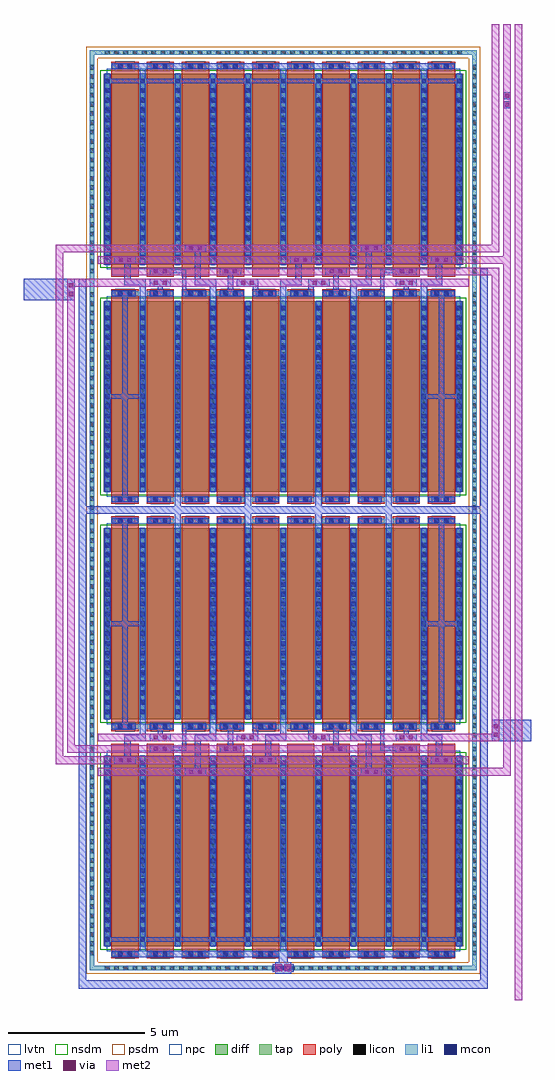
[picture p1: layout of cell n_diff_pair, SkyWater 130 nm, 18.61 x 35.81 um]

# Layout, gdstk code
import gdstk
lib = gdstk.Library(unit=1e-6, precision=1e-09)
def R(c, l, rs):  # rectangles x0, y0, x1, y1
    for r in rs: c.add(gdstk.rectangle(r[:2], r[2:], *l))
def A(c, l, x, y, w, h, nx, ny, dx, dy):  # array of equal rectangles
    R(c, l, [(x+i*dx, y+j*dy, x+i*dx+w, y+j*dy+h) for i in range(nx) for j in range(ny)])
diff = (65, 20)
tap = (65, 44)
poly = (66, 20)
licon = (66, 44)
li1 = (67, 20)
mcon = (67, 44)
met1 = (68, 20)
via = (68, 44)
met2 = (69, 20)
nsdm = (93, 44)
psdm = (94, 20)
npc = (95, 20)
lvtn = (125, 44)

n_diff_pair = lib.new_cell('n_diff_pair')
A(n_diff_pair, diff, 2.92, 4.98, 13.19, 7, 1, 4, 0, 8.34)
R(n_diff_pair, tap, [(2.41,4.11,16.62,4.28), (2.41,4.28,2.58,37.7), (16.45,4.28,16.62,37.7), (2.41,37.7,16.62,37.87)])
A(n_diff_pair, poly, 3.21, 4.54, 1, 7.88, 10, 4, 1.29, 8.34)
A(n_diff_pair, licon, 2.97, 4.11, 0.17, 0.17, 39, 2, 0.34, 33.59)
A(n_diff_pair, licon, 2.41, 4.655, 0.17, 0.17, 1, 23, 0, 0.34)
A(n_diff_pair, licon, 16.45, 4.655, 0.17, 0.17, 1, 23, 0, 0.34)
A(n_diff_pair, licon, 2.98, 5.165, 0.17, 0.17, 11, 20, 1.29, 0.34)
A(n_diff_pair, licon, 2.41, 12.655, 0.17, 0.17, 1, 24, 0, 0.34)
A(n_diff_pair, licon, 16.45, 12.655, 0.17, 0.17, 1, 24, 0, 0.34)
A(n_diff_pair, licon, 2.98, 13.505, 0.17, 0.17, 11, 20, 1.29, 0.34)
A(n_diff_pair, licon, 2.41, 20.995, 0.17, 0.17, 1, 24, 0, 0.34)
A(n_diff_pair, licon, 16.45, 20.995, 0.17, 0.17, 1, 24, 0, 0.34)
A(n_diff_pair, licon, 2.98, 21.845, 0.17, 0.17, 11, 20, 1.29, 0.34)
A(n_diff_pair, licon, 2.41, 29.675, 0.17, 0.17, 1, 23, 0, 0.34)
A(n_diff_pair, licon, 16.45, 29.675, 0.17, 0.17, 1, 23, 0, 0.34)
A(n_diff_pair, licon, 2.98, 30.185, 0.17, 0.17, 11, 20, 1.29, 0.34)
R(n_diff_pair, licon, [(3.455,4.62,3.625,4.79), (3.795,4.62,3.965,4.79), (4.745,4.62,4.915,4.79), (5.085,4.62,5.255,4.79), (6.035,4.62,6.205,4.79), (6.375,4.62,6.545,4.79), (7.325,4.62,7.495,4.79), (7.665,4.62,7.835,4.79), (8.615,4.62,8.785,4.79), (8.955,4.62,9.125,4.79), (9.905,4.62,10.075,4.79), (10.245,4.62,10.415,4.79), (11.195,4.62,11.365,4.79), (11.535,4.62,11.705,4.79), (12.485,4.62,12.655,4.79), (12.825,4.62,12.995,4.79), (13.775,4.62,13.945,4.79), (14.115,4.62,14.285,4.79), (15.065,4.62,15.235,4.79), (15.405,4.62,15.575,4.79), (3.455,12.96,3.625,13.13), (3.795,12.96,3.965,13.13), (4.745,12.96,4.915,13.13), (5.085,12.96,5.255,13.13), (6.035,12.96,6.205,13.13), (6.375,12.96,6.545,13.13), (7.325,12.96,7.495,13.13), (7.665,12.96,7.835,13.13), (8.615,12.96,8.785,13.13), (8.955,12.96,9.125,13.13), (9.905,12.96,10.075,13.13), (10.245,12.96,10.415,13.13), (11.195,12.96,11.365,13.13), (11.535,12.96,11.705,13.13), (12.485,12.96,12.655,13.13), (12.825,12.96,12.995,13.13), (13.775,12.96,13.945,13.13), (14.115,12.96,14.285,13.13), (15.065,12.96,15.235,13.13), (15.405,12.96,15.575,13.13), (3.455,20.51,3.625,20.68), (3.795,20.51,3.965,20.68), (4.745,20.51,4.915,20.68), (5.085,20.51,5.255,20.68), (6.035,20.51,6.205,20.68), (6.375,20.51,6.545,20.68), (7.325,20.51,7.495,20.68), (7.665,20.51,7.835,20.68), (8.615,20.51,8.785,20.68), (8.955,20.51,9.125,20.68), (9.905,20.51,10.075,20.68), (10.245,20.51,10.415,20.68), (11.195,20.51,11.365,20.68), (11.535,20.51,11.705,20.68), (12.485,20.51,12.655,20.68), (12.825,20.51,12.995,20.68), (13.775,20.51,13.945,20.68), (14.115,20.51,14.285,20.68), (15.065,20.51,15.235,20.68), (15.405,20.51,15.575,20.68), (3.455,21.3,3.625,21.47), (3.795,21.3,3.965,21.47), (4.745,21.3,4.915,21.47), (5.085,21.3,5.255,21.47), (6.035,21.3,6.205,21.47), (6.375,21.3,6.545,21.47), (7.325,21.3,7.495,21.47), (7.665,21.3,7.835,21.47), (8.615,21.3,8.785,21.47), (8.955,21.3,9.125,21.47), (9.905,21.3,10.075,21.47), (10.245,21.3,10.415,21.47), (11.195,21.3,11.365,21.47), (11.535,21.3,11.705,21.47), (12.485,21.3,12.655,21.47), (12.825,21.3,12.995,21.47), (13.775,21.3,13.945,21.47), (14.115,21.3,14.285,21.47), (15.065,21.3,15.235,21.47), (15.405,21.3,15.575,21.47), (3.455,28.85,3.625,29.02), (3.795,28.85,3.965,29.02), (4.745,28.85,4.915,29.02), (5.085,28.85,5.255,29.02), (6.035,28.85,6.205,29.02), (6.375,28.85,6.545,29.02), (7.325,28.85,7.495,29.02), (7.665,28.85,7.835,29.02), (8.615,28.85,8.785,29.02), (8.955,28.85,9.125,29.02), (9.905,28.85,10.075,29.02), (10.245,28.85,10.415,29.02), (11.195,28.85,11.365,29.02), (11.535,28.85,11.705,29.02), (12.485,28.85,12.655,29.02), (12.825,28.85,12.995,29.02), (13.775,28.85,13.945,29.02), (14.115,28.85,14.285,29.02), (15.065,28.85,15.235,29.02), (15.405,28.85,15.575,29.02), (3.455,37.19,3.625,37.36), (3.795,37.19,3.965,37.36), (4.745,37.19,4.915,37.36), (5.085,37.19,5.255,37.36), (6.035,37.19,6.205,37.36), (6.375,37.19,6.545,37.36), (7.325,37.19,7.495,37.36), (7.665,37.19,7.835,37.36), (8.615,37.19,8.785,37.36), (8.955,37.19,9.125,37.36), (9.905,37.19,10.075,37.36), (10.245,37.19,10.415,37.36), (11.195,37.19,11.365,37.36), (11.535,37.19,11.705,37.36), (12.485,37.19,12.655,37.36), (12.825,37.19,12.995,37.36), (13.775,37.19,13.945,37.36), (14.115,37.19,14.285,37.36), (15.065,37.19,15.235,37.36), (15.405,37.19,15.575,37.36)])
A(n_diff_pair, li1, 3.21, 4.62, 1, 0.17, 10, 2, 1.29, 8.34)
A(n_diff_pair, li1, 2.98, 4.96, 0.17, 7.04, 11, 4, 1.29, 8.34)
A(n_diff_pair, li1, 3.21, 20.51, 1, 0.17, 10, 2, 1.29, 0.79)
A(n_diff_pair, li1, 3.21, 28.85, 1, 0.17, 10, 2, 1.29, 8.34)
R(n_diff_pair, li1, [(2.41,4.11,16.62,4.28), (2.41,4.28,2.58,37.7), (16.45,4.28,16.62,37.7), (2.41,37.7,16.62,37.87)])
A(n_diff_pair, mcon, 2.98, 5.155, 0.17, 0.17, 11, 19, 1.29, 0.36)
A(n_diff_pair, mcon, 2.98, 13.495, 0.17, 0.17, 11, 19, 1.29, 0.36)
A(n_diff_pair, mcon, 2.98, 21.835, 0.17, 0.17, 11, 19, 1.29, 0.36)
A(n_diff_pair, mcon, 2.98, 30.175, 0.17, 0.17, 11, 19, 1.29, 0.36)
R(n_diff_pair, mcon, [(9.43,4.11,9.6,4.28), (3.445,4.62,3.615,4.79), (3.805,4.62,3.975,4.79), (4.735,4.62,4.905,4.79), (5.095,4.62,5.265,4.79), (6.025,4.62,6.195,4.79), (6.385,4.62,6.555,4.79), (7.315,4.62,7.485,4.79), (7.675,4.62,7.845,4.79), (8.605,4.62,8.775,4.79), (8.965,4.62,9.135,4.79), (9.895,4.62,10.065,4.79), (10.255,4.62,10.425,4.79), (11.185,4.62,11.355,4.79), (11.545,4.62,11.715,4.79), (12.475,4.62,12.645,4.79), (12.835,4.62,13.005,4.79), (13.765,4.62,13.935,4.79), (14.125,4.62,14.295,4.79), (15.055,4.62,15.225,4.79), (15.415,4.62,15.585,4.79), (3.445,12.96,3.615,13.13), (3.805,12.96,3.975,13.13), (4.735,12.96,4.905,13.13), (5.095,12.96,5.265,13.13), (6.025,12.96,6.195,13.13), (6.385,12.96,6.555,13.13), (7.315,12.96,7.485,13.13), (7.675,12.96,7.845,13.13), (8.605,12.96,8.775,13.13), (8.965,12.96,9.135,13.13), (9.895,12.96,10.065,13.13), (10.255,12.96,10.425,13.13), (11.185,12.96,11.355,13.13), (11.545,12.96,11.715,13.13), (12.475,12.96,12.645,13.13), (12.835,12.96,13.005,13.13), (13.765,12.96,13.935,13.13), (14.125,12.96,14.295,13.13), (15.055,12.96,15.225,13.13), (15.415,12.96,15.585,13.13), (3.445,20.51,3.615,20.68), (3.805,20.51,3.975,20.68), (4.735,20.51,4.905,20.68), (5.095,20.51,5.265,20.68), (6.025,20.51,6.195,20.68), (6.385,20.51,6.555,20.68), (7.315,20.51,7.485,20.68), (7.675,20.51,7.845,20.68), (8.605,20.51,8.775,20.68), (8.965,20.51,9.135,20.68), (9.895,20.51,10.065,20.68), (10.255,20.51,10.425,20.68), (11.185,20.51,11.355,20.68), (11.545,20.51,11.715,20.68), (12.475,20.51,12.645,20.68), (12.835,20.51,13.005,20.68), (13.765,20.51,13.935,20.68), (14.125,20.51,14.295,20.68), (15.055,20.51,15.225,20.68), (15.415,20.51,15.585,20.68), (3.445,21.3,3.615,21.47), (3.805,21.3,3.975,21.47), (4.735,21.3,4.905,21.47), (5.095,21.3,5.265,21.47), (6.025,21.3,6.195,21.47), (6.385,21.3,6.555,21.47), (7.315,21.3,7.485,21.47), (7.675,21.3,7.845,21.47), (8.605,21.3,8.775,21.47), (8.965,21.3,9.135,21.47), (9.895,21.3,10.065,21.47), (10.255,21.3,10.425,21.47), (11.185,21.3,11.355,21.47), (11.545,21.3,11.715,21.47), (12.475,21.3,12.645,21.47), (12.835,21.3,13.005,21.47), (13.765,21.3,13.935,21.47), (14.125,21.3,14.295,21.47), (15.055,21.3,15.225,21.47), (15.415,21.3,15.585,21.47), (3.445,28.85,3.615,29.02), (3.805,28.85,3.975,29.02), (4.735,28.85,4.905,29.02), (5.095,28.85,5.265,29.02), (6.025,28.85,6.195,29.02), (6.385,28.85,6.555,29.02), (7.315,28.85,7.485,29.02), (7.675,28.85,7.845,29.02), (8.605,28.85,8.775,29.02), (8.965,28.85,9.135,29.02), (9.895,28.85,10.065,29.02), (10.255,28.85,10.425,29.02), (11.185,28.85,11.355,29.02), (11.545,28.85,11.715,29.02), (12.475,28.85,12.645,29.02), (12.835,28.85,13.005,29.02), (13.765,28.85,13.935,29.02), (14.125,28.85,14.295,29.02), (15.055,28.85,15.225,29.02), (15.415,28.85,15.585,29.02), (3.445,37.19,3.615,37.36), (3.805,37.19,3.975,37.36), (4.735,37.19,4.905,37.36), (5.095,37.19,5.265,37.36), (6.025,37.19,6.195,37.36), (6.385,37.19,6.555,37.36), (7.315,37.19,7.485,37.36), (7.675,37.19,7.845,37.36), (8.605,37.19,8.775,37.36), (8.965,37.19,9.135,37.36), (9.895,37.19,10.065,37.36), (10.255,37.19,10.425,37.36), (11.185,37.19,11.355,37.36), (11.545,37.19,11.715,37.36), (12.475,37.19,12.645,37.36), (12.835,37.19,13.005,37.36), (13.765,37.19,13.935,37.36), (14.125,37.19,14.295,37.36), (15.055,37.19,15.225,37.36), (15.415,37.19,15.585,37.36)])
A(n_diff_pair, met1, 4.24, 4.82, 0.23, 0.335, 3, 2, 5.16, 32.005)
A(n_diff_pair, met1, 5.53, 4.98, 0.23, 0.175, 3, 2, 1.29, 31.845)
A(n_diff_pair, met1, 10.69, 4.98, 0.23, 0.175, 3, 2, 1.29, 31.845)
A(n_diff_pair, met1, 2.95, 5.325, 0.23, 6.655, 11, 2, 1.29, 24.675)
A(n_diff_pair, met1, 3.685, 12.51, 0.785, 0.23, 3, 1, 2.58, 0)
A(n_diff_pair, met1, 6.82, 12.74, 0.23, 7.58, 3, 2, 2.58, 8.92)
A(n_diff_pair, met1, 5.53, 13.32, 0.23, 7.53, 4, 2, 2.58, 7.81)
A(n_diff_pair, met1, 9.4, 29.24, 0.785, 0.23, 3, 1, 2.58, 0)
R(n_diff_pair, met1, [(2.005,3.435,17.025,3.745), (2.005,3.745,2.285,20.85), (16.745,3.745,17.025,20.85), (9.225,3.985,9.805,4.055), (9.125,4.055,9.905,4.335), (9.225,4.335,9.805,4.405), (9.35,4.405,9.68,4.59), (3.23,4.59,15.8,4.82), (2.95,4.98,3.18,5.155), (15.85,4.98,16.08,5.155), (2.95,5.155,16.08,5.325), (5.9,11.25,6.68,11.53), (12.35,11.25,13.13,11.53), (6.265,11.53,6.495,12.51), (12.535,11.53,12.765,12.51), (3.32,11.67,4.1,11.95), (8.48,11.67,9.26,11.95), (14.93,11.67,15.71,11.95), (3.685,11.95,3.915,12.51), (8.845,11.95,9.075,12.51), (15.115,11.95,15.345,12.51), (4.61,12.09,5.39,12.155), (7.19,12.09,7.97,12.37), (11.06,12.09,11.84,12.37), (13.64,12.09,14.42,12.155), (4.61,12.155,5.96,12.305), (13.07,12.155,14.42,12.305), (4.61,12.305,5.39,12.37), (5.81,12.305,5.96,12.93), (13.07,12.305,13.22,12.93), (13.64,12.305,14.42,12.37), (7.485,12.37,7.675,12.93), (11.355,12.37,11.545,12.93), (4.61,12.51,5.39,12.79), (7.815,12.51,8.605,12.79), (10.425,12.51,11.215,12.79), (11.98,12.51,12.765,12.74), (13.64,12.51,14.42,12.79), (14.56,12.51,15.345,12.74), (17.165,12.51,18.605,13.29), (4.24,12.74,4.47,16.735), (14.56,12.74,14.79,16.735), (4.905,12.79,5.095,12.93), (8.39,12.79,8.605,12.93), (10.425,12.79,10.64,12.93), (13.935,12.79,14.125,12.93), (3.23,12.93,4.1,13.16), (4.61,12.93,5.48,13.16), (5.81,12.93,6.68,13.16), (7.19,12.93,8.06,13.16), (8.39,12.93,9.26,13.16), (9.77,12.93,10.64,13.16), (10.97,12.93,11.84,13.16), (12.35,12.93,13.22,13.16), (13.55,12.93,14.42,13.16), (14.93,12.93,15.8,13.16), (3.615,13.16,3.805,16.735), (15.225,13.16,15.415,16.735), (2.95,13.32,3.18,16.735), (15.85,13.32,16.08,16.735), (2.95,16.735,4.47,16.905), (14.56,16.735,16.08,16.905), (2.95,16.905,3.18,20.32), (3.615,16.905,3.805,20.48), (4.24,16.905,4.47,20.32), (14.56,16.905,14.79,20.32), (15.225,16.905,15.415,20.48), (15.85,16.905,16.08,20.32), (3.23,20.48,4.19,20.71), (4.52,20.48,5.39,20.71), (5.9,20.48,6.77,20.71), (7.1,20.48,7.97,20.71), (8.48,20.48,9.35,20.71), (9.68,20.48,10.55,20.71), (11.06,20.48,11.93,20.71), (12.26,20.48,13.13,20.71), (13.64,20.48,14.51,20.71), (14.84,20.48,15.8,20.71), (2.005,20.85,17.025,21.13), (2.005,21.13,2.285,29.47), (16.745,21.13,17.025,29.84), (3.23,21.27,4.19,21.5), (4.52,21.27,5.39,21.5), (5.9,21.27,6.77,21.5), (7.1,21.27,7.97,21.5), (8.48,21.27,9.35,21.5), (9.68,21.27,10.55,21.5), (11.06,21.27,11.93,21.5), (12.26,21.27,13.13,21.5), (13.64,21.27,14.51,21.5), (14.84,21.27,15.8,21.5), (3.615,21.5,3.805,25.075), (15.225,21.5,15.415,25.075), (2.95,21.66,3.18,25.075), (4.24,21.66,4.47,25.075), (14.56,21.66,14.79,25.075), (15.85,21.66,16.08,25.075), (2.95,25.075,4.47,25.245), (14.56,25.075,16.08,25.245), (2.95,25.245,3.18,28.66), (3.615,25.245,3.805,28.82), (4.24,25.245,4.47,29.24), (14.56,25.245,14.79,29.24), (15.225,25.245,15.415,28.82), (15.85,25.245,16.08,28.66), (0,28.69,1.865,29.47), (3.23,28.82,4.1,29.05), (4.61,28.82,5.48,29.05), (5.81,28.82,6.68,29.05), (7.19,28.82,8.06,29.05), (8.39,28.82,9.26,29.05), (9.77,28.82,10.64,29.05), (10.97,28.82,11.84,29.05), (12.35,28.82,13.22,29.05), (13.55,28.82,14.42,29.05), (14.93,28.82,15.8,29.05), (4.905,29.05,5.095,29.19), (5.81,29.05,5.96,29.675), (7.485,29.05,7.675,29.61), (8.39,29.05,8.605,29.19), (10.425,29.05,10.64,29.19), (11.355,29.05,11.545,29.61), (13.07,29.05,13.22,29.675), (13.935,29.05,14.125,29.19), (4.61,29.19,5.39,29.47), (7.815,29.19,8.605,29.47), (10.425,29.19,11.215,29.47), (13.64,29.19,14.42,29.47), (3.685,29.24,4.47,29.47), (6.265,29.24,7.05,29.47), (3.685,29.47,3.915,30.03), (6.265,29.47,6.495,30.45), (9.955,29.47,10.185,30.03), (12.535,29.47,12.765,30.45), (15.115,29.47,15.345,30.03), (4.61,29.61,5.39,29.675), (7.19,29.61,7.97,29.89), (11.06,29.61,11.84,29.89), (13.64,29.61,14.42,29.675), (4.61,29.675,5.96,29.825), (13.07,29.675,14.42,29.825), (4.61,29.825,5.39,29.89), (13.64,29.825,14.42,29.89), (3.32,30.03,4.1,30.31), (9.77,30.03,10.55,30.31), (14.93,30.03,15.71,30.31), (5.9,30.45,6.68,30.73), (12.35,30.45,13.13,30.73), (17.595,35.735,17.855,35.995), (17.595,36.055,17.855,36.315), (2.95,36.655,16.08,36.825), (2.95,36.825,3.18,37), (15.85,36.825,16.08,37), (3.23,37.16,15.8,37.39)])
R(n_diff_pair, via, [(9.28,4.12,9.43,4.27), (9.6,4.12,9.75,4.27), (6.055,11.315,6.205,11.465), (6.375,11.315,6.525,11.465), (12.505,11.315,12.655,11.465), (12.825,11.315,12.975,11.465), (3.475,11.735,3.625,11.885), (3.795,11.735,3.945,11.885), (8.635,11.735,8.785,11.885), (8.955,11.735,9.105,11.885), (15.085,11.735,15.235,11.885), (15.405,11.735,15.555,11.885), (4.765,12.155,4.915,12.305), (5.085,12.155,5.235,12.305), (7.345,12.155,7.495,12.305), (7.665,12.155,7.815,12.305), (11.215,12.155,11.365,12.305), (11.535,12.155,11.685,12.305), (13.795,12.155,13.945,12.305), (14.115,12.155,14.265,12.305), (4.765,12.575,4.915,12.725), (5.085,12.575,5.235,12.725), (7.97,12.575,8.12,12.725), (8.29,12.575,8.44,12.725), (10.59,12.575,10.74,12.725), (10.91,12.575,11.06,12.725), (13.795,12.575,13.945,12.725), (14.115,12.575,14.265,12.725), (17.23,12.665,17.38,12.815), (17.23,12.985,17.38,13.135), (1.65,28.845,1.8,28.995), (1.65,29.165,1.8,29.315), (4.765,29.255,4.915,29.405), (5.085,29.255,5.235,29.405), (7.97,29.255,8.12,29.405), (8.29,29.255,8.44,29.405), (10.59,29.255,10.74,29.405), (10.91,29.255,11.06,29.405), (13.795,29.255,13.945,29.405), (14.115,29.255,14.265,29.405), (4.765,29.675,4.915,29.825), (5.085,29.675,5.235,29.825), (7.345,29.675,7.495,29.825), (7.665,29.675,7.815,29.825), (11.215,29.675,11.365,29.825), (11.535,29.675,11.685,29.825), (13.795,29.675,13.945,29.825), (14.115,29.675,14.265,29.825), (3.475,30.095,3.625,30.245), (3.795,30.095,3.945,30.245), (9.925,30.095,10.075,30.245), (10.245,30.095,10.395,30.245), (15.085,30.095,15.235,30.245), (15.405,30.095,15.555,30.245), (6.055,30.515,6.205,30.665), (6.375,30.515,6.525,30.665), (12.505,30.515,12.655,30.665), (12.825,30.515,12.975,30.665), (17.65,35.79,17.8,35.94), (17.65,36.11,17.8,36.26)])
R(n_diff_pair, met2, [(18.005,3.015,18.285,38.815), (9.225,4.065,9.485,4.325), (9.545,4.065,9.805,4.325), (2.705,11.25,17.865,11.53), (17.585,11.53,17.865,30.03), (1.165,11.67,16.325,11.95), (1.165,11.95,1.445,30.45), (1.585,12.09,15.8,12.37), (1.585,12.37,1.865,29.19), (2.705,12.51,17.445,12.79), (17.165,12.79,17.445,29.61), (1.585,29.19,16.325,29.47), (3.23,29.61,17.445,29.89), (2.705,30.03,17.865,30.31), (17.585,30.31,17.865,38.825), (1.165,30.45,17.445,30.73), (17.165,30.73,17.445,38.82)])
A(n_diff_pair, nsdm, 2.795, 4.855, 13.44, 7.25, 1, 4, 0, 8.34)
R(n_diff_pair, psdm, [(2.285,3.985,16.745,4.405), (2.285,4.405,2.705,37.575), (16.325,4.405,16.745,37.575), (2.285,37.575,16.745,37.995)])
A(n_diff_pair, npc, 3.355, 4.52, 0.71, 0.37, 10, 2, 1.29, 8.34)
A(n_diff_pair, npc, 3.355, 20.41, 0.71, 0.37, 10, 2, 1.29, 0.79)
A(n_diff_pair, npc, 3.355, 28.75, 0.71, 0.37, 10, 2, 1.29, 8.34)
A(n_diff_pair, lvtn, 3.03, 4.8, 12.97, 7.36, 1, 4, 0, 8.34)

lib.write_gds('n_diff_pair.gds')
